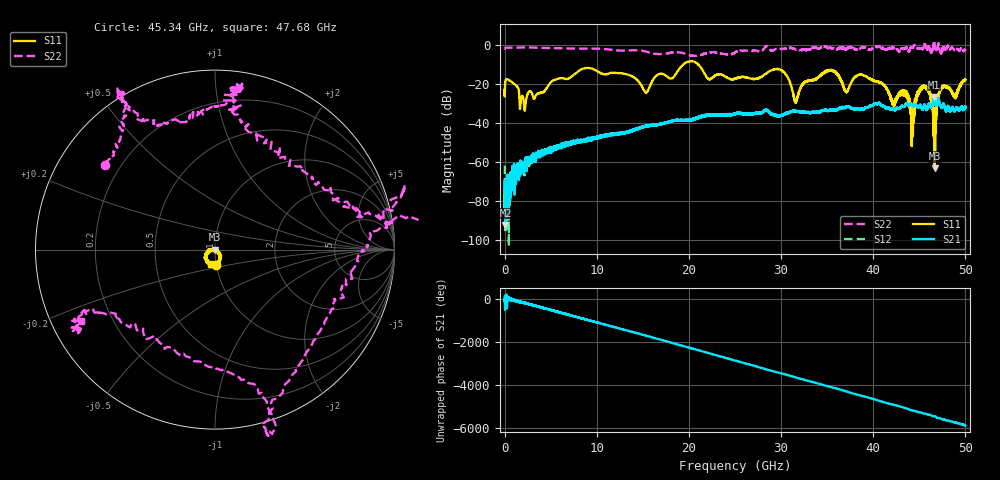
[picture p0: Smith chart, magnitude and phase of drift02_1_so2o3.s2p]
!Created with skrf (http://scikit-rf.org).
# Hz S RI R 50.0
!freq ReS11 ImS11 ReS21 ImS21 ReS12 ImS12 ReS22 ImS22
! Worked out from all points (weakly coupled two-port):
!   10001 points, 300 kHz to 50 GHz, reference 50 ohm
!   highest |S21| = -26.73 dB at 46.6 GHz (marker M1); lowest = -92.1 dB at 90.3 MHz (marker M2)
!   lowest |S11| = -63.2 dB at 46.67 GHz (marker M3), VSWR 1.00, Z = 50 - j0.0529 ohm
!   |S11| at or under -10 dB: start of sweep to 19.41 GHz; 21 GHz to end of sweep
!   |S22| runs from -5.7 to 2.2 dB; largest |S21 - S12| = 0.0037
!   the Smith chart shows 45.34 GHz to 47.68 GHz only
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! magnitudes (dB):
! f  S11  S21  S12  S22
! 300 kHz  -23.2  -69.7  -61.7  -2.1
! 90.3 MHz  -18.5  -92.1  -78.4  -1.5
! 2.19 GHz  -33.7  -61.8  -60.2  -1.3
! 8.335 GHz  -12.5  -49.0  -50.0  -1.9
! 15.33 GHz  -24.4  -41.5  -41.6  -3.4
! 16.67 GHz  -15.1  -40.8  -40.8  -4.8
! 20.28 GHz  -8.4  -38.5  -38.4  -5.4
! 25 GHz  -17.3  -35.3  -35.4  -3.9
! 29.84 GHz  -12.6  -36.2  -36.6  -2.0
! 31.59 GHz  -29.1  -33.9  -34.0  -2.4
! 33.34 GHz  -17.9  -34.3  -34.5  -1.5
! 35.6 GHz  -13.0  -33.4  -33.2  -1.7
! 37.1 GHz  -24.2  -31.7  -31.7  -2.2
! 38.75 GHz  -15.3  -32.6  -32.7  -1.1
! 41.67 GHz  -24.2  -32.2  -32.3  -1.8
! 43.43 GHz  -23.6  -31.2  -31.2  -1.9
! 44.27 GHz  -35.9  -31.2  -31.3  -1.6
! 45.68 GHz  -21.2  -32.1  -32.0  -0.6
! 46.6 GHz  -37.5  -26.7  -26.8  1.7
! 46.67 GHz  -63.2  -28.5  -28.4  0.1
! 47.47 GHz  -22.0  -31.7  -31.8  -3.5
! 50 GHz  -17.9  -31.6  -31.8  -2.5
